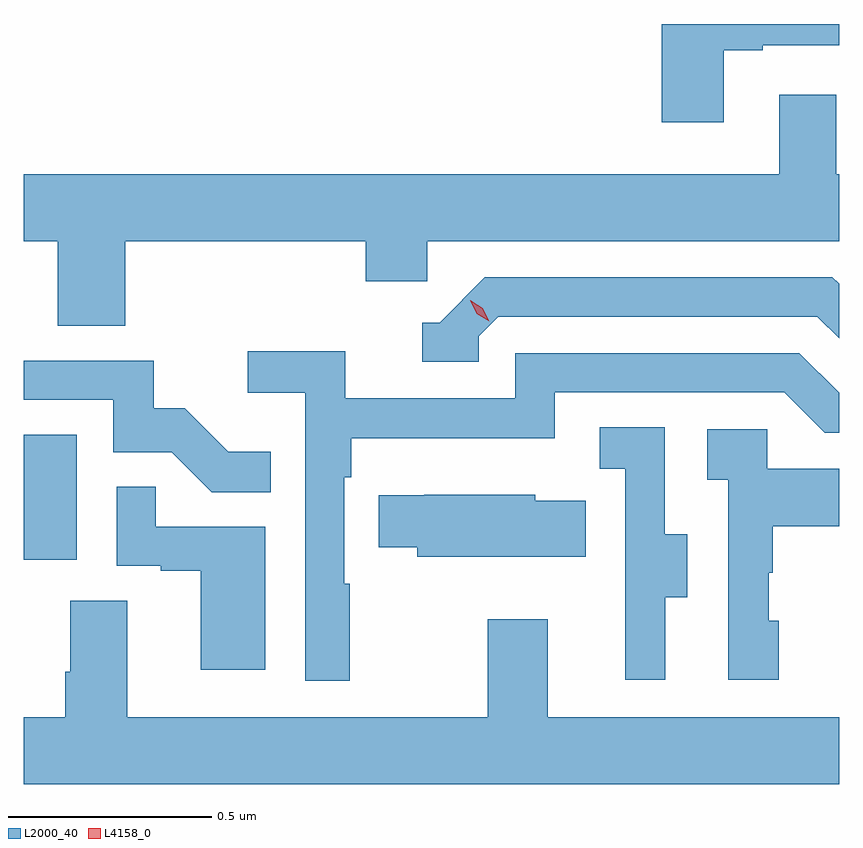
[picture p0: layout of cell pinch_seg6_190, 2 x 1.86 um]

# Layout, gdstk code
import gdstk
lib = gdstk.Library(unit=1e-6, precision=1e-09)
def R(c, l, rs):  # rectangles x0, y0, x1, y1
    for r in rs: c.add(gdstk.rectangle(r[:2], r[2:], *l))
def P(c, l, *ps):  # polygons
    for p in ps: c.add(gdstk.Polygon(p, *l))
L2000_40 = (2000, 40)
L4158_0 = (4158, 0)

pinch_seg6_190 = lib.new_cell('pinch_seg6_190')
R(pinch_seg6_190, L2000_40, [(1055.352,929.238,1055.482,929.545)])
P(pinch_seg6_190, L2000_40, [(1057.069,930.489),(1057.165,930.489),(1057.165,930.501),(1057.352,930.501),(1057.352,930.553),(1056.917,930.553),(1056.917,930.312),(1057.069,930.312)],
  [(1055.6,930.02),(1056.191,930.02),(1056.191,929.922),(1056.342,929.922),(1056.342,930.02),(1057.352,930.02),(1057.352,930.184),(1057.345,930.184),(1057.345,930.379),(1057.205,930.379),(1057.205,930.184),(1055.352,930.184),(1055.352,930.02),(1055.435,930.02),(1055.435,929.812),(1055.6,929.812)],
  [(1056.468,929.787),(1056.516,929.835),(1057.299,929.835),(1057.352,929.782),(1057.352,929.915),(1057.336,929.931),(1056.483,929.931),(1056.372,929.82),(1056.329,929.82),(1056.329,929.724),(1056.468,929.724)],
  [(1056.151,929.18),(1056.138,929.18),(1056.138,929.441),(1056.155,929.441),(1056.155,929.537),(1056.654,929.537),(1056.654,929.649),(1057.218,929.649),(1057.317,929.55),(1057.352,929.55),(1057.352,929.648),(1057.255,929.745),(1056.558,929.745),(1056.558,929.634),(1056.14,929.634),(1056.14,929.75),(1055.901,929.75),(1055.901,929.648),(1056.042,929.648),(1056.042,928.941),(1056.151,928.941)],
  [(1055.957,929.503),(1055.853,929.503),(1055.746,929.61),(1055.67,929.61),(1055.67,929.727),(1055.352,929.727),(1055.352,929.631),(1055.571,929.631),(1055.571,929.502),(1055.715,929.502),(1055.813,929.404),(1055.957,929.404)],
  [(1056.925,929.146),(1056.979,929.146),(1056.979,929.301),(1056.924,929.301),(1056.924,929.564),(1056.765,929.564),(1056.765,929.461),(1056.828,929.461),(1056.828,929.157),(1056.827,929.157),(1056.827,928.944),(1056.925,928.944)],
  [(1057.204,929.088),(1057.179,929.088),(1057.179,929.207),(1057.189,929.207),(1057.189,929.321),(1057.352,929.321),(1057.352,929.461),(1057.176,929.461),(1057.176,929.559),(1057.029,929.559),(1057.029,929.435),(1057.08,929.435),(1057.08,928.944),(1057.204,928.944)],
  [(1055.944,929.319),(1055.675,929.319),(1055.675,929.417),(1055.58,929.417),(1055.58,929.223),(1055.687,929.223),(1055.687,929.211),(1055.786,929.211),(1055.786,928.968),(1055.944,928.968)],
  [(1056.731,929.383),(1056.606,929.383),(1056.606,929.398),(1056.334,929.398),(1056.334,929.397),(1056.223,929.397),(1056.223,929.269),(1056.317,929.269),(1056.317,929.246),(1056.731,929.246)],
  [(1057.352,928.852),(1056.637,928.852),(1056.637,929.092),(1056.49,929.092),(1056.49,928.852),(1055.605,928.852),(1055.605,929.138),(1055.465,929.138),(1055.465,928.964),(1055.453,928.964),(1055.453,928.852),(1055.352,928.852),(1055.352,928.688),(1057.352,928.688)])
P(pinch_seg6_190, L4158_0, [(1056.494,929.823),(1056.463,929.842),(1056.447,929.875),(1056.447,929.875),(1056.447,929.875),(1056.478,929.856),(1056.494,929.823),(1056.494,929.823)])

lib.write_gds('pinch_seg6_190.gds')
